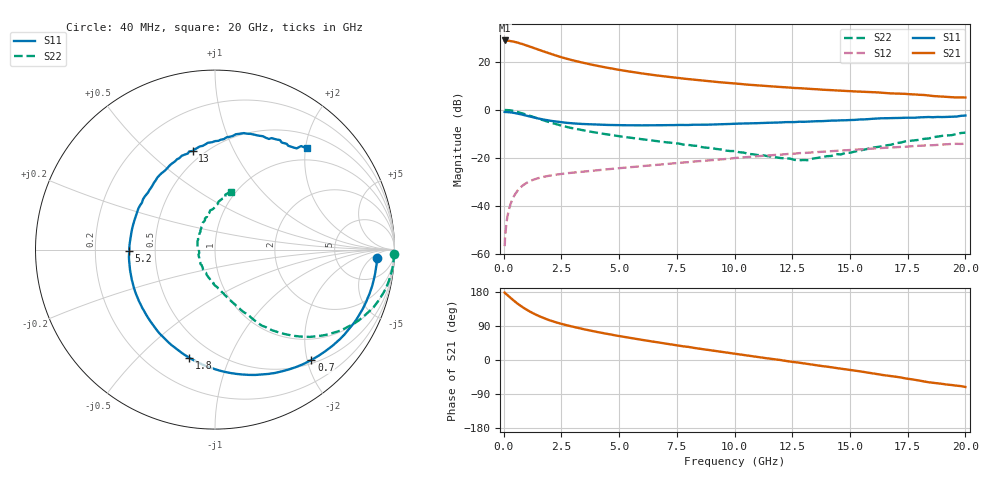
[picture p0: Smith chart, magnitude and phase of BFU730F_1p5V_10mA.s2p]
! Filename:  P:\Prog\Test\Noise\ATS_data\Testdata_Net\Split files Spar\BFU730_2W_B1_Bias6_1.5V_1mA_30mA_D.s2p
! Date/Time: Fri 29/Apr/2011 14:16:52
! BFU730_2W_B1_Bias6_1.5V_1mA_30mA_R.s2p
! MDIF S-parameter v. bias file
! BFU730_2W_B1_1.5V_1mA_30mA
! Date/time Thu Mar 17 13:45:32 2011
! VAR V_out= 1.5000
! VAR I_out= 9.9750
! VAR V_in= 0.8061
! VAR I_in= 0.0310
! Device data file deembeded for feedlines and parallel
! Original file: \Split files Spar\BFU730_2W_B1_Bias6_1.5V_1mA_30mA_R.s2p
! Feed-files: PR003V01_101208_Feed1.s2p, PR003V01_101208_Feed2.s2p
! Parallel-file: PR003V01_101208_Par.s2p
# MHz S MA R 50
!  Freq-MHz  S11-mag  S11-arg  S21-mag  S21-arg  S12-mag  S12-arg  S22-mag  S22-arg
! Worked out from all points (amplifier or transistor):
!   167 points, 40 MHz to 20 GHz, reference 50 ohm
!   highest |S21| = 29.0 dB at 50 MHz (marker M1)
!   |S21| within 3 dB of that: start of sweep to 1.26 GHz
!   unconditionally stable (mu >= 1): 5.701 GHz to 16.04 GHz
!   at 550 MHz: K = 0.12, MSG = 31.3 dB, |S12| = -34.4 dB
!   at 4.2 GHz: K = 0.84, MSG = 21.6 dB, |S12| = -25.0 dB
!   at 20 GHz: K = 0.87, MSG = 9.6 dB, |S12| = -14.1 dB
!   S11 on the Smith chart (normalised r, x): 40 MHz: 16, -8; 700 MHz: 0.56, -2.08; 1.8 GHz: 0.37, -0.72; 5.2 GHz: 0.35, -0.00; 13 GHz: 0.44, +0.70; 20 GHz: 0.75, +2.04
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40  0.9041 -2.9  28.01 177.9  0.001433 87.7  0.9959 -1.3
50  0.9015 -4.2  28.07 176.9  0.001637 97.8  0.9954 -1.9
240  0.8925 -17.5  27.62 166.8  0.008774 81.7  0.9845 -10.2
420  0.8689 -30.4  26.67 157.5  0.01503 74.7  0.9528 -17.6
600  0.8355 -42.7  25.41 148.8  0.0206 68.3  0.9067 -24.4
700  0.8164 -48.9  24.42 144.5  0.02329 64.9  0.8774 -28.0
900  0.7745 -61.0  22.79 136.2  0.02803 59.1  0.8178 -34.0
1150  0.7232 -74.8  20.79 127.3  0.03275 53.4  0.7452 -40.3
1450  0.669 -89.3  18.48 118.1  0.03703 47.9  0.6657 -46.5
1800  0.6191 -103.6  16.12 109.1  0.04077 43.3  0.589 -52.0
2050  0.5896 -112.5  14.67 103.6  0.04284 40.9  0.5411 -55.3
2400  0.5603 -123.5  12.96 97.0  0.04538 38.4  0.4843 -59.0
2800  0.5326 -134.4  11.43 90.7  0.04797 36.1  0.4325 -61.9
3400  0.508 -148.0  9.71 82.2  0.05134 34.1  0.3791 -65.7
4200  0.4894 -163.5  8.042 72.2  0.05594 32.4  0.3227 -70.2
5200  0.4784 -179.3  6.588 61.0  0.06196 30.5  0.2735 -75.9
6800  0.4776 160.2  5.11 45.4  0.0723 27.5  0.218 -85.1
10200  0.5172 126.6  3.49 14.9  0.1005 18.1  0.1307 -118.5
13000  0.5635 102.7  2.795 -8.9  0.1261 6.0  0.08977 -176.2
13400  0.5742 100.1  2.715 -12.5  0.1308 3.9  0.09628 173.3
16800  0.6749 72.8  2.206 -42.5  0.1639 -14.1  0.1882 103.8
20000  0.7631 47.6  1.81 -71.2  0.1965 -34.5  0.3348 74.5
